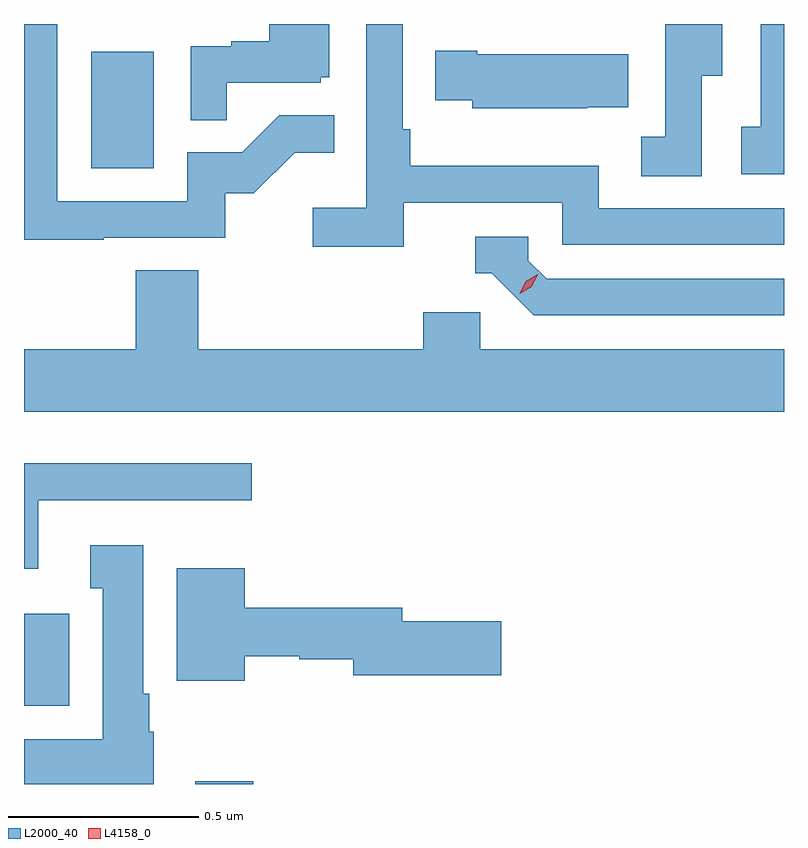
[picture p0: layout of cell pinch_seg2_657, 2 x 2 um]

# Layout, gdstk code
import gdstk
lib = gdstk.Library(unit=1e-6, precision=1e-09)
def R(c, l, rs):  # rectangles x0, y0, x1, y1
    for r in rs: c.add(gdstk.rectangle(r[:2], r[2:], *l))
def P(c, l, *ps):  # polygons
    for p in ps: c.add(gdstk.Polygon(p, *l))
L2000_40 = (2000, 40)
L4158_0 = (4158, 0)

pinch_seg2_657 = lib.new_cell('pinch_seg2_657')
R(pinch_seg2_657, L2000_40, [(1066.247,593.376,1066.4,593.383), (1065.797,593.582,1065.916,593.824), (1065.974,594.996,1066.138,595.303)])
P(pinch_seg2_657, L2000_40, [(1066.007,594.813),(1066.326,594.813),(1066.326,594.93),(1066.402,594.93),(1066.509,595.037),(1066.613,595.037),(1066.613,595.136),(1066.469,595.136),(1066.371,595.038),(1066.227,595.038),(1066.227,594.909),(1065.885,594.909),(1065.885,595.376),(1065.797,595.376),(1065.797,594.808),(1066.007,594.808)],
  [(1067.797,595.376),(1067.736,595.376),(1067.736,595.106),(1067.685,595.106),(1067.685,594.981),(1067.797,594.981)],
  [(1066.796,594.906),(1067.214,594.906),(1067.214,594.795),(1067.797,594.795),(1067.797,594.891),(1067.31,594.891),(1067.31,595.003),(1066.814,595.003),(1066.814,595.099),(1066.794,595.099),(1066.794,595.376),(1066.698,595.376),(1066.698,594.892),(1066.557,594.892),(1066.557,594.79),(1066.796,594.79)],
  [(1066.331,595.221),(1066.578,595.221),(1066.578,595.236),(1066.6,595.236),(1066.6,595.376),(1066.442,595.376),(1066.442,595.33),(1066.343,595.33),(1066.343,595.317),(1066.236,595.317),(1066.236,595.123),(1066.331,595.123)],
  [(1067.58,595.24),(1067.635,595.24),(1067.635,595.376),(1067.484,595.376),(1067.484,595.079),(1067.421,595.079),(1067.421,594.976),(1067.58,594.976)],
  [(1067.279,595.157),(1067.387,595.157),(1067.387,595.297),(1066.99,595.297),(1066.99,595.305),(1066.879,595.305),(1066.879,595.175),(1066.977,595.175),(1066.977,595.154),(1067.279,595.154)],
  [(1067.797,594.705),(1067.172,594.705),(1067.124,594.753),(1067.124,594.816),(1066.985,594.816),(1066.985,594.72),(1067.028,594.72),(1067.139,594.609),(1067.797,594.609)],
  [(1067.797,594.52),(1066.998,594.52),(1066.998,594.618),(1066.847,594.618),(1066.847,594.52),(1066.256,594.52),(1066.256,594.728),(1066.091,594.728),(1066.091,594.52),(1065.797,594.52),(1065.797,594.356),(1067.797,594.356)],
  [(1065.835,594.123),(1066.396,594.123),(1066.396,594.22),(1065.797,594.22),(1065.797,593.942),(1065.835,593.942)],
  [(1066.138,593.514),(1066.126,593.514),(1066.126,593.614),(1066.111,593.614),(1066.111,594.004),(1065.971,594.004),(1065.971,593.891),(1066.004,593.891),(1066.004,593.494),(1065.797,593.494),(1065.797,593.376),(1066.138,593.376)],
  [(1066.378,593.712),(1066.521,593.712),(1066.521,593.704),(1066.664,593.704),(1066.664,593.662),(1067.053,593.662),(1067.053,593.804),(1066.792,593.804),(1066.792,593.84),(1066.378,593.84),(1066.378,593.944),(1066.199,593.944),(1066.199,593.648),(1066.378,593.648)])
P(pinch_seg2_657, L4158_0, [(1067.102,594.666),(1067.102,594.666),(1067.118,594.699),(1067.149,594.718),(1067.149,594.718),(1067.149,594.717),(1067.133,594.685),(1067.102,594.666)])

lib.write_gds('pinch_seg2_657.gds')
